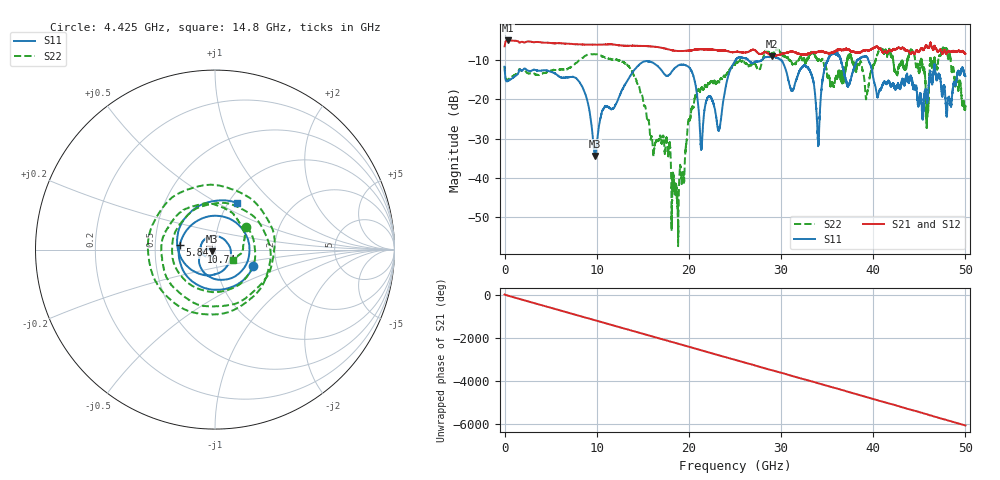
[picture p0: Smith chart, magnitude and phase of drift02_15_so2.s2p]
!Created with skrf (http://scikit-rf.org).
# Hz S RI R 50.0
!freq ReS11 ImS11 ReS21 ImS21 ReS12 ImS12 ReS22 ImS22
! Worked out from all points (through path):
!   10001 points, 300 kHz to 50 GHz, reference 50 ohm
!   highest |S21| = -5.04 dB at 325.3 MHz (marker M1); lowest = -9.0 dB at 29.05 GHz (marker M2)
!   group delay of S21, straight-line fit = 336 ps
!   lowest |S11| = -34.4 dB at 9.815 GHz (marker M3), VSWR 1.04, Z = 48.4 - j0.928 ohm
!   |S11| at or under -10 dB: start of sweep to 25.07 GHz; 29.97 GHz to 35.06 GHz (5.09 GHz wide, 15.7 % of centre); 39.47 GHz to end of sweep (the widest 3 of 7)
!   |S22| runs from -57.3 to -6.7 dB; largest |S21 - S12| = 0.023
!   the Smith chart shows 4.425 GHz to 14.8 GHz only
!   S11 on the Smith chart (normalised r, x): 4.425 GHz: 1.51, -0.30; 5.84 GHz: 0.67, +0.04; 10.74 GHz: 0.86, -0.02; 14.8 GHz: 1.10, +0.62
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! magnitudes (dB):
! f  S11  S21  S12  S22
! 300 kHz  -11.7  -6.5  -6.4  -11.6
! 325.3 MHz  -15.4  -5.0  -5.0  -15.0
! 4.425 GHz  -12.6  -5.6  -5.6  -13.3
! 5.84 GHz  -14.1  -5.7  -5.7  -12.5
! 8.335 GHz  -16.4  -6.0  -6.0  -9.6
! 9.815 GHz  -34.4  -6.1  -6.1  -8.5
! 10.74 GHz  -22.3  -6.1  -6.1  -9.2
! 14.8 GHz  -10.8  -6.4  -6.4  -18.5
! 16.67 GHz  -11.7  -6.7  -6.7  -30.4
! 18.68 GHz  -11.7  -7.7  -7.7  -45.4
! 20.37 GHz  -13.3  -7.5  -7.5  -22.1
! 21.37 GHz  -32.4  -7.3  -7.3  -17.1
! 23.31 GHz  -27.5  -7.5  -7.6  -15.6
! 25 GHz  -10.3  -8.0  -8.0  -11.1
! 29.05 GHz  -9.1  -9.0  -9.0  -8.2
! 33.34 GHz  -14.0  -8.1  -8.2  -8.0
! 34.02 GHz  -30.4  -7.9  -8.0  -10.2
! 35.52 GHz  -8.5  -8.2  -8.1  -15.7
! 41.67 GHz  -15.4  -7.7  -7.8  -7.7
! 45.86 GHz  -20.9  -6.7  -6.8  -21.2
! 47.77 GHz  -17.7  -7.6  -7.6  -7.3
! 50 GHz  -14.1  -8.4  -8.4  -21.7
